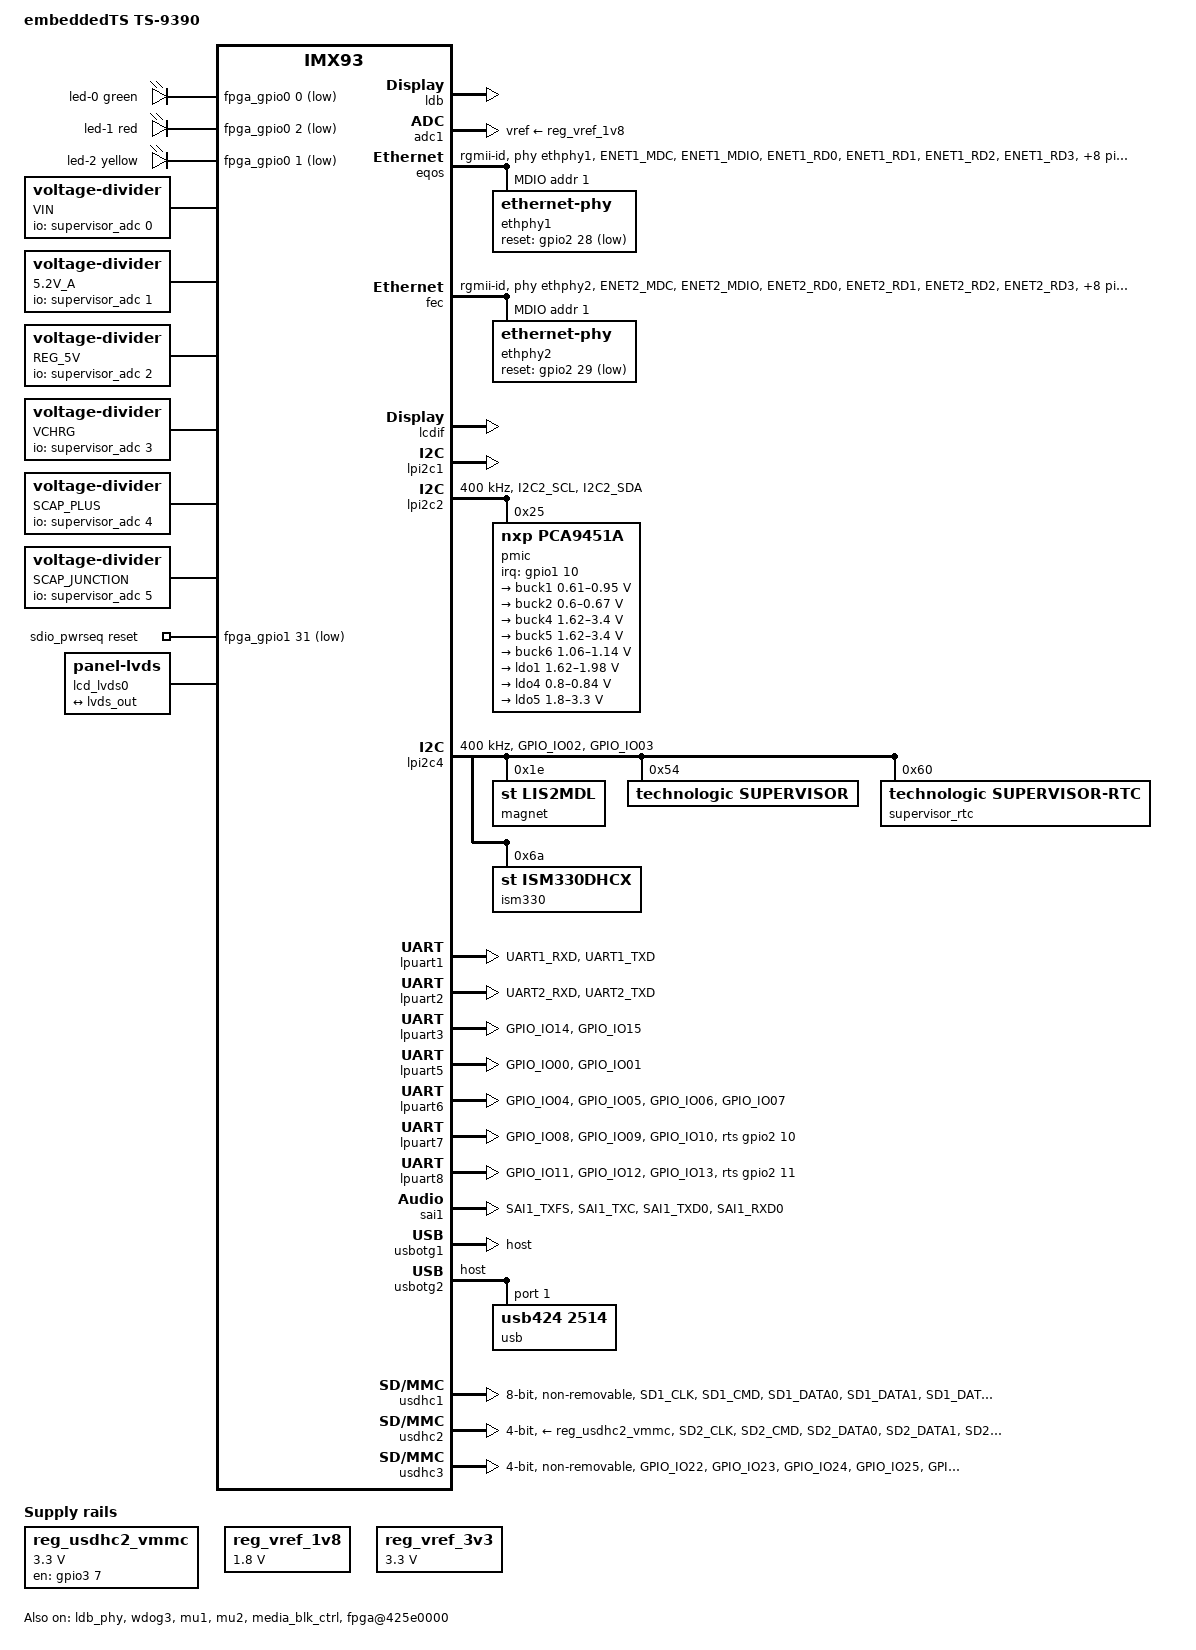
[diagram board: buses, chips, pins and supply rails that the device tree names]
// SPDX-License-Identifier: (GPL-2.0+ OR MIT)
/*
 * Copyright 2024, 2025 Technologic Systems, Inc. (dba embeddedTS)
 */

/dts-v1/;

#include <dt-bindings/leds/common.h>
#include "imx93.dtsi"

/ {
	model = "embeddedTS TS-9390";
	compatible = "technologic,ts9390", "fsl,imx93";

	chosen {
		bootargs = "console=ttyLP0,115200";
		stdout-path = &lpuart1;
	};

	aliases {
		gpio4 = &fpga_gpio0;
		gpio5 = &fpga_gpio1;
		gpio6 = &fpga_gpio2;
	};

	reserved-memory {
		#address-cells = <2>;
		#size-cells = <2>;
		ranges;

		linux,cma {
			compatible = "shared-dma-pool";
			reusable;
			alloc-ranges = <0 0x80000000 0 0x40000000>;
			size = <0 0x10000000>;
			linux,cma-default;
		};

		ethosu_mem: ethosu_region@C0000000 {
			compatible = "shared-dma-pool";
			reusable;
			reg = <0x0 0xC0000000 0x0 0x10000000>;
		};

		vdev0vring0: vdev0vring0@a4000000 {
			reg = <0 0xa4000000 0 0x8000>;
			no-map;
		};

		vdev0vring1: vdev0vring1@a4008000 {
			reg = <0 0xa4008000 0 0x8000>;
			no-map;
		};

		vdev1vring0: vdev1vring0@a4010000 {
			reg = <0 0xa4010000 0 0x8000>;
			no-map;
		};

		vdev1vring1: vdev1vring1@a4018000 {
			reg = <0 0xa4018000 0 0x8000>;
			no-map;
		};

		rsc_table: rsc-table@2021e000 {
			reg = <0 0x2021e000 0 0x1000>;
			no-map;
		};

		vdevbuffer: vdevbuffer@a4020000 {
			compatible = "shared-dma-pool";
			reg = <0 0xa4020000 0 0x100000>;
			no-map;
		};

		ele_reserved: ele-reserved@a4120000 {
			compatible = "shared-dma-pool";
			reg = <0 0xa4120000 0 0x100000>;
			no-map;
		};
	};

	ethosu {
		compatible = "arm,ethosu";
		fsl,cm33-proc = <&cm33>;
		memory-region = <&ethosu_mem>;
		power-domains = <&mlmix>;
	};

	clk_dp: clk-dp {
		compatible = "fixed-clock";
		#clock-cells = <0>;
		clock-frequency = <19200000>;
	};

	leds {
		compatible = "gpio-leds";

		led-0 {
			color = <LED_COLOR_ID_GREEN>;
			function = LED_FUNCTION_INDICATOR;
			gpios = <&fpga_gpio0 0 GPIO_ACTIVE_LOW>;
			default-state = "on";
		};

		led-1 {
			color = <LED_COLOR_ID_RED>;
			function = LED_FUNCTION_INDICATOR;
			gpios = <&fpga_gpio0 2 GPIO_ACTIVE_LOW>;
			default-state = "off";
		};

		led-2 {
			color = <LED_COLOR_ID_YELLOW>;
			function = LED_FUNCTION_INDICATOR;
			gpios = <&fpga_gpio0 1 GPIO_ACTIVE_LOW>;
			default-state = "off";
		};
	};

	reg_usdhc2_vmmc: regulator-usdhc2 {
		compatible = "regulator-fixed";
		pinctrl-names = "default";
		pinctrl-0 = <&pinctrl_reg_usdhc2_vmmc>;
		regulator-name = "VSD_3V3";
		regulator-min-microvolt = <3300000>;
		regulator-max-microvolt = <3300000>;
		gpio = <&gpio3 7 GPIO_ACTIVE_HIGH>;
		off-on-delay-us = <12000>;
		enable-active-high;
	};

	reg_vref_1v8: regulator-adc-vref {
		compatible = "regulator-fixed";
		regulator-name = "vref_1v8";
		regulator-min-microvolt = <1800000>;
		regulator-max-microvolt = <1800000>;
	};

	reg_vref_3v3: regulator-adc-vref {
		compatible = "regulator-fixed";
		regulator-name = "vref_3v3";
		regulator-min-microvolt = <3300000>;
		regulator-max-microvolt = <3300000>;
		regulator-always-on;
	};

	/*
	 * The numbering of the following voltage-divider io-channels must match
	 * the ordering of the Wizard microcontroller's scan table that it selected
	 * for the hardware configuration it determined itself to be running on.
	 */
	an_vin: an-vin {
		compatible = "voltage-divider";
		io-channels = <&supervisor_adc 0>;
		label = "VIN";
		output-ohms = <4990>; /* R2: 4.9k */
		full-ohms = <79990>;  /* R1 (75k) + R2 (4.99k) */
		#io-channel-cells = <0>;
	};

	an_5p2va: an-5p2va {
		compatible = "voltage-divider";
		io-channels = <&supervisor_adc 1>;
		label = "5.2V_A";
		output-ohms = <75000>; /* R2: 75k */
		full-ohms = <150000>;  /* R1 (75k) + R2 (75k) */
		#io-channel-cells = <0>;
	};

	an_reg_5v: an-reg-5v {
		compatible = "voltage-divider";
		io-channels = <&supervisor_adc 2>;
		label = "REG_5V";
		output-ohms = <75000>; /* R2: 75k */
		full-ohms = <150000>;  /* R1 (75k) + R2 (75k) */
		#io-channel-cells = <0>;
	};

	an_vchrg: an-vchrg {
		compatible = "voltage-divider";
		io-channels = <&supervisor_adc 3>;
		label = "VCHRG";
		output-ohms = <75000>; /* R2: 75k */
		full-ohms = <150000>;  /* R1 (75k) + R2 (75k) */
		#io-channel-cells = <0>;
	};

	an_scap_plus: an-scap-plus {
		compatible = "voltage-divider";
		io-channels = <&supervisor_adc 4>;
		label = "SCAP_PLUS";
		output-ohms = <75000>; /* R2: 75k */
		full-ohms = <150000>;  /* R1 (75k) + R2 (75k) */
		#io-channel-cells = <0>;
	};

	/*
	 * On boards with two or more banks, junction becomes junction-0, and
	 * additional junctions are labeled junction-N.
	 */
	an_scap_junction: an-scap-junction {
		compatible = "voltage-divider";
		io-channels = <&supervisor_adc 5>;
		label = "SCAP_JUNCTION";
		output-ohms = <1>;  /* direct mV (<3.3V) after 12-bit scaling */
		full-ohms = <1>;
		#io-channel-cells = <0>;
	};

	sdio_pwrseq: sdio-pwrseq {
		compatible = "mmc-pwrseq-simple";
		pinctrl-names = "default";
		reset-gpios = <&fpga_gpio1 31 GPIO_ACTIVE_LOW>;
	};

	/* See imx93-ts9390-simple-panel.dtso or ... */
	/* ek73215bcga LCD panel */
        lcd_lvds0: panel0 {
            compatible = "panel-lvds";
            /* backlight = <&backlight>;*/
	    data-mapping = "jeida-24";
	    width-mm = <154>;  // 7"
	    height-mm = <86>;
	    status = "okay";

            panel-timing {
                clock-frequency = <51000000>; // Pixel clock
                hactive = <1024>;
                vactive = <600>;
                hback-porch = <160>;
                hfront-porch = <160>;
                hsync-len = <20>;
                vback-porch = <23>;
                vfront-porch = <12>;
                vsync-len = <3>;
                hsync-active = <0>;
                vsync-active = <0>;
                de-active = <1>;             // Data enable active level.
                pixelclk-active = <0>;       // Pixel clock active level.
            };

	    port {
		    panel_lvds_in: endpoint {
			    remote-endpoint = <&lvds_out>;
		    };
	    };
        };
};

/* LVDS Display Bridge - node mostly in ix93.dts */
&ldb {
	status = "okay";

	lvds-channel@0 {
		status = "okay";

		port@1 {
			lvds_out: endpoint {
				remote-endpoint = <&panel_lvds_in>;
			};
		};
	};
};

&ldb_phy {
	status = "okay";
};

&adc1 {
	vref-supply = <&reg_vref_1v8>;
	status = "okay";
};

//&cm33 {
//	mbox-names = "tx", "rx", "rxdb";
//	mboxes = <&mu1 0 1>,
//		 <&mu1 1 1>,
//		 <&mu1 3 1>;
//	memory-region = <&vdevbuffer>, <&vdev0vring0>, <&vdev0vring1>,
//			<&vdev1vring0>, <&vdev1vring1>, <&rsc_table>;
//	status = "okay";
//};

&aips2 {
	fpga@425e0000 {
		#address-cells = <1>;
		#size-cells = <1>;
		compatible = "nxp,imx93-fspi", "nxp,imx8mm-fspi";
		reg = <0x425e0000 0x10000>, <0x28000000 0x10000000>;
		reg-names = "fspi_base", "fspi_mmap";
		interrupts = <GIC_SPI 55 IRQ_TYPE_LEVEL_HIGH>;
		clocks = <&clk IMX93_CLK_FLEXSPI1_GATE>,
		<&clk IMX93_CLK_FLEXSPI1_GATE>;
		clock-names = "fspi", "fspi_en";
		assigned-clocks = <&clk IMX93_CLK_FLEXSPI1>;
		assigned-clock-parents = <&clk IMX93_CLK_SYS_PLL_PFD1>;
		pinctrl-names = "default";
		pinctrl-0 = <&pinctrl_flexspi>;
		assigned-clock-rates = <66000000>;
		nxp,ahb-bus-only;
		nxp,fspi-individual-mode;
		ranges = <0 0x28000000 0x10000000>;

		status = "okay";

		fpga_gpio0: gpio@28000040 {
			compatible = "technologic,ts7820-gpio";
			reg = <0x40 0x40>;
			gpio-controller;
			#gpio-cells = <2>;

			gpio-line-names =
				"EN_GREEN_LED_N",    "EN_YEL_LED_N",      "EN_RED_LED_N",      "",
				"NIM_RESET_N",       "NIM_CTS_N",         "NIM_PWR_ON_N",      "EN_NIM_USB_N",
				"EN_NIM_4V",         "EN_NIM_3P3V",       "NIM_TXD",           "NIM_RXD",
				"EN_USB_HOST1_VBUS", "EN_USB_HOST2_VBUS", "MIKRO_TXD",         "MIKRO_RXD",
				"MIKRO_SPI_CLK",     "MIKRO_SPI_CS_N",    "MIKRO_SPI_MISO",    "MIKRO_SPI_MOSI",
				"MIKRO_RESET_N",     "MIKRO_AN",          "MIKRO_PWM",         "MIKRO_INT",
				"EN_LS_OUT_1",       "EN_LS_OUT_2",       "EN_LS_OUT_3",       "EN_LS_OUT_4",
				"EN_HS_SW",          "DIO_FAULT_N",       "MAGNET_IRQ",        "GYRO_IRQ";
		};

		fpga_gpio1: gpio@28000080 {
			compatible = "technologic,ts7820-gpio";
			reg = <0x80 0x40>;
			gpio-controller;
			#gpio-cells = <2>;

			gpio-line-names =
				"EN_2ND_PORT_232",   "EN_CAN_1",    "EN_CAN_2",      "",
				"",                  "",            "",              "",
				"",                  "",            "",              "",
				"",                  "",            "",              "",
				"",                  "",            "",              "",
				"",                  "",            "PUSH_SW_PADN",  "AN_SEL_0",
				"AN_SEL_1",          "EN_CL_1_2",   "EN_CL_3",       "DP_RESET_PADN",
				"NO_SCAP_CHRG_PADN", "EN_SPKR_AMP", "BT_EN",         "WIFI_EN";
		};

		fpga_gpio2: gpio@280000c0 {
			compatible = "technologic,ts7820-gpio";
			reg = <0xC0 0x40>;
			gpio-controller;
			#gpio-cells = <2>;

			gpio-line-names =
				"EN_ADC_3_12V",   "EN_ADC_1_2_12V", "",               "",
				"",               "",               "",               "",
				"",               "",               "",               "",
				"",               "",               "",               "",
				"",               "",               "",               "",
				"",               "",               "",               "",
				"",               "",               "",               "",
				"",               "",               "",               "";
		};
	};
};

&bbnsm_rtc {
	status = "disabled";
};

&dphy {
	status = "disabled";
};

&dsi {
	status = "disabled";

	ports {
		port@1 {
			reg = <1>;

			dsi_to_dp: endpoint {
				remote-endpoint = <&dp_to_dsi>;
			};
		};
	};
};

&eqos {
	pinctrl-names = "default", "sleep";
	pinctrl-0 = <&pinctrl_eqos>;
	pinctrl-1 = <&pinctrl_eqos_sleep>;
	phy-mode = "rgmii-id";
	phy-handle = <&ethphy1>;
	status = "okay";

	mdio {
		compatible = "snps,dwmac-mdio";
		#address-cells = <1>;
		#size-cells = <0>;
		clock-frequency = <5000000>;

		ethphy1: ethernet-phy@1 {
			//compatible = "ethernet-phy-ieee802.3-c22";
			reg = <1>;
			eee-broken-1000t;
			pinctrl-names = "default";
			pinctrl-0 = <&pinctrl_eqos_phy>;
			reset-gpios = <&gpio2 28 GPIO_ACTIVE_LOW>;
			reset-assert-us = <2>;
			reset-deassert-us = <50000>;
		};
	};
};

&fec {
	pinctrl-names = "default", "sleep";
	pinctrl-0 = <&pinctrl_fec>;
	pinctrl-1 = <&pinctrl_fec_sleep>;
	phy-mode = "rgmii-id";
	phy-handle = <&ethphy2>;
	fsl,magic-packet;
	status = "okay";

	mdio {
		#address-cells = <1>;
		#size-cells = <0>;
		clock-frequency = <5000000>;

		ethphy2: ethernet-phy@1 {
			//compatible = "ethernet-phy-ieee802.3-c22";
			reg = <1>;
			pinctrl-names = "default";
			pinctrl-0 = <&pinctrl_fec_phy>;
			eee-broken-1000t;
			reset-gpios = <&gpio2 29 GPIO_ACTIVE_LOW>;
			reset-assert-us = <2>;
			reset-deassert-us = <50000>;
		};
	};
};

&lcdif {
	status = "okay";
	assigned-clock-rates = <484000000>, <121000000>, <400000000>, <133333333>;
};

/* i2c-0 */
&lpi2c1 {
	status = "ok";
};

/* i2c-1 */
&lpi2c2 {
	#address-cells = <1>;
	#size-cells = <0>;
	clock-frequency = <400000>;
	pinctrl-names = "default";
	pinctrl-0 = <&pinctrl_lpi2c2>;
	status = "okay";

	/* i.MX93 Master */

	pmic@25 {
		compatible = "nxp,pca9451a";
		reg = <0x25>;
		pinctrl-names = "default";
		pinctrl-0 = <&pinctrl_pmic>;
		/* Passed through the FPGA, PMIC_INT# to CCM_CLK03 */
		interrupt-parent = <&gpio1>;
		interrupts = <10 IRQ_TYPE_LEVEL_LOW>;
		nxp,i2c-lt-enable;

		regulators {
			buck1: BUCK1 {
				regulator-name = "BUCK1";
				regulator-min-microvolt = <610000>;
				regulator-max-microvolt = <950000>;
				regulator-boot-on;
				regulator-always-on;
				regulator-ramp-delay = <3125>;
			};

			buck2: BUCK2 {
				regulator-name = "BUCK2";
				regulator-min-microvolt = <600000>;
				regulator-max-microvolt = <670000>;
				regulator-boot-on;
				regulator-always-on;
				regulator-ramp-delay = <3125>;
			};

			buck4: BUCK4{
				regulator-name = "BUCK4";
				regulator-min-microvolt = <1620000>;
				regulator-max-microvolt = <3400000>;
				regulator-boot-on;
				regulator-always-on;
			};

			buck5: BUCK5{
				regulator-name = "BUCK5";
				regulator-min-microvolt = <1620000>;
				regulator-max-microvolt = <3400000>;
				regulator-boot-on;
				regulator-always-on;
			};

			buck6: BUCK6 {
				regulator-name = "BUCK6";
				regulator-min-microvolt = <1060000>;
				regulator-max-microvolt = <1140000>;
				regulator-boot-on;
				regulator-always-on;
			};

			ldo1: LDO1 {
				regulator-name = "LDO1";
				regulator-min-microvolt = <1620000>;
				regulator-max-microvolt = <1980000>;
				regulator-boot-on;
				regulator-always-on;
			};

			ldo4: LDO4 {
				regulator-name = "LDO4";
				regulator-min-microvolt = <800000>;
				regulator-max-microvolt = <840000>;
				regulator-boot-on;
				regulator-always-on;
			};

			ldo5: LDO5 {
				regulator-name = "LDO5";
				regulator-min-microvolt = <1800000>;
				regulator-max-microvolt = <3300000>;
				regulator-boot-on;
				regulator-always-on;
			};
		};
	};
};

/* i2c-3 */
&lpi2c4 {
	#address-cells = <1>;
	#size-cells = <0>;
	clock-frequency = <400000>;
	pinctrl-names = "default", "sleep";
	pinctrl-0 = <&pinctrl_lpi2c4>;
	pinctrl-1 = <&pinctrl_lpi2c4>;
	status = "okay";

	/* ST IIS2MDL (magnetometer) */
	magnet: magnetometer@1e {
		compatible = "st,lis2mdl";
		reg = <0x1e>;
		st,drdy-int-pin = <1>;
		/*
		st,drdy-int-pin = <1>;
		interrupt-parent = <&gpio1>;
		interrupts = <14 IRQ_TYPE_LEVEL_HIGH>;
		*/
	};

	supervisor: supervisor@54 {
		compatible = "technologic,supervisor";
		reg = <0x54>;

		supervisor_adc: supervisor_adc {
			compatible = "technologic,supervisor-adc";
			#io-channel-cells = <1>;
		};

		supervisor_temp: supervisor_temp {
			compatible = "technologic,supervisor-temp";
			#io-channel-cells = <0>;
		};
	};

	supervisor_rtc: rtc@60 {
		compatible = "technologic,supervisor-rtc";
		reg = <0x60>;
		wakeup-source;
	};

	dp_bridge: dp-bridge@68 {
		compatible = "toshiba,tc358767";
		reg = <0x68>;
		reset-gpios = <&fpga_gpio1 27 GPIO_ACTIVE_HIGH>;

		clock-names = "ref";
		clocks = <&clk_dp>;

		toshiba,hpd-pin = <0>;
		status = "disabled";

		ports {
			#address-cells = <1>;
			#size-cells = <0>;

			port@0 {
				reg = <0>;

				dp_to_dsi: endpoint {
					remote-endpoint = <&dsi_to_dp>;
				};
			};
		};
	};

	/* ST ISM330DLCTR (gyro/accelerometer) (ism6dhcx) */
	ism330: gyro@6a {
		compatible = "st,ism330dhcx";
		reg = <0x6a>;
		/*
		interrupt-parent = <&gpio5>;
		interrupts = <0 IRQ_TYPE_LEVEL_HIGH>;
		*/
	};
};

&lpuart1 { /* serial@44380000: Console */
	pinctrl-names = "default";
	pinctrl-0 = <&pinctrl_uart1>;
	status = "okay";
};

&lpuart2 { /* serial@44390000: Primary RS-232 */
	pinctrl-names = "default";
	pinctrl-0 = <&pinctrl_uart2>;
	status = "okay";
};

&lpuart3 { /* serial@42570000: TBD via MAX10 */
	pinctrl-names = "default";
	pinctrl-0 = <&pinctrl_uart3>;
	status = "okay";
};

&lpuart5 { /* serial@42590000: MikroE */
	pinctrl-names = "default";
	pinctrl-0 = <&pinctrl_uart5>;
	status = "okay";
};

&lpuart6 { /* serial@425a0000: Silex Bluetooth */
	pinctrl-names = "default";
	pinctrl-0 = <&pinctrl_uart6>;
	status = "okay";
};

&lpuart7 { /* serial@42690000: Primary RS-485 */
	pinctrl-names = "default";
	pinctrl-0 = <&pinctrl_uart7>;
	rts-gpios = <&gpio2 10 GPIO_ACTIVE_HIGH>;
	//linux,rs485-enabled-at-boot-time;
	status = "okay";
};

&lpuart8 { /* serial@426a0000: Secondary RS-485 (or RS-232) */
	pinctrl-names = "default";
	pinctrl-0 = <&pinctrl_uart8>;
	rts-gpios = <&gpio2 11 GPIO_ACTIVE_HIGH>;
	//linux,rs485-enabled-at-boot-time;
	status = "okay";
};

&sai1 {
	#sound-dai-cells = <0>;
	pinctrl-names = "default";
	pinctrl-0 = <&pinctrl_sai1>;

	clocks = <&clk IMX93_CLK_SAI1_IPG>, <&clk IMX93_CLK_DUMMY>,
		 <&clk IMX93_CLK_SAI1_GATE>,
		 <&clk IMX93_CLK_DUMMY>, <&clk IMX93_CLK_DUMMY>,
		 <&clk IMX93_CLK_AUDIO_PLL>;
	clock-names = "bus", "mclk0",
		      "mclk1",
		      "mclk2", "mclk3",
		      "pll8k";
	assigned-clocks = <&clk IMX93_CLK_SAI1>;
	assigned-clock-parents = <&clk IMX93_CLK_AUDIO_PLL>;
	assigned-clock-rates = <12288000>;

	fsl,sai-asynchronous;
	status = "okay";
};

&usbotg1 {
	dr_mode = "host";
	status = "okay";
};

&usbotg2 {
	#address-cells = <1>;
	#size-cells = <0>;
	dr_mode = "host";
	status = "okay";

	usb@1 {
		compatible = "usb424,2514";
		reg = <1>;
		//pinctrl-names = "default";
		//pinctrl-0 = <&pinctrl_usbhub>;
		clocks = <&clk IMX93_CLK_CCM_CKO1>;
		assigned-clocks = <&clk IMX93_CLK_CCM_CKO1>;
		assigned-clock-parents = <&clk IMX93_CLK_24M>;
		assigned-clock-rates = <24000000>;
	};
};

&usdhc1 {
	pinctrl-names = "default", "state_100mhz", "state_200mhz";
	pinctrl-0 = <&pinctrl_usdhc1>;
	pinctrl-1 = <&pinctrl_usdhc1>;
	pinctrl-2 = <&pinctrl_usdhc1>;
	bus-width = <8>;
	non-removable;
	status = "okay";
};

&usdhc2 {
	pinctrl-names = "default", "state_100mhz", "state_200mhz", "sleep";
	pinctrl-0 = <&pinctrl_usdhc2>;
	pinctrl-1 = <&pinctrl_usdhc2_100mhz>;
	pinctrl-2 = <&pinctrl_usdhc2_200mhz>;
	pinctrl-3 = <&pinctrl_usdhc2_sleep>;
	vmmc-supply = <&reg_usdhc2_vmmc>;
	bus-width = <4>;
	status = "okay";
	no-sdio;
	no-mmc;
	broken-cd;
};


&usdhc3 {
	pinctrl-names = "default", "state_100mhz", "state_200mhz";
	pinctrl-0 = <&pinctrl_usdhc3>;
	pinctrl-1 = <&pinctrl_usdhc3>;
	pinctrl-2 = <&pinctrl_usdhc3>;
	mmc-pwrseq = <&sdio_pwrseq>;
	bus-width = <4>;
	non-removable;
	fsl,sdio-async-interrupt-enabled;
	status = "okay";
};

/* CPU GPIO2: 43810000.gpio (per i.MX93 RM (ch. 29/GPIO) */
&gpio2 {
	gpio-line-names =
		"GPIO_00",      "GPIO_01",      "GPIO_02", "GPIO_03", "GPIO_04",
		"GPIO_05",      "GPIO_06",      "GPIO_07", "GPIO_08", "GPIO_09",
		"RS485_1_TXEN", "RS485_2_TXEN", "GPIO_12", "GPIO_13", "GPIO_14",
		"GPIO_15",      "GPIO_16",      "GPIO_17", "GPIO_18", "GPIO_19",
		"GPIO_20",      "GPIO_21";
};

&iomuxc {
	pinctrl_eqos: eqosgrp {
		fsl,pins = <
			MX93_PAD_ENET1_MDC__ENET_QOS_MDC			0x57e
			MX93_PAD_ENET1_MDIO__ENET_QOS_MDIO			0x57e
			MX93_PAD_ENET1_RD0__ENET_QOS_RGMII_RD0			0x57e
			MX93_PAD_ENET1_RD1__ENET_QOS_RGMII_RD1			0x57e
			MX93_PAD_ENET1_RD2__ENET_QOS_RGMII_RD2			0x57e
			MX93_PAD_ENET1_RD3__ENET_QOS_RGMII_RD3			0x57e
			MX93_PAD_ENET1_RXC__CCM_ENET_QOS_CLOCK_GENERATE_RX_CLK	0x5fe
			MX93_PAD_ENET1_RX_CTL__ENET_QOS_RGMII_RX_CTL		0x57e
			MX93_PAD_ENET1_TD0__ENET_QOS_RGMII_TD0			0x57e
			MX93_PAD_ENET1_TD1__ENET_QOS_RGMII_TD1			0x57e
			MX93_PAD_ENET1_TD2__ENET_QOS_RGMII_TD2			0x57e
			MX93_PAD_ENET1_TD3__ENET_QOS_RGMII_TD3			0x57e
			MX93_PAD_ENET1_TXC__CCM_ENET_QOS_CLOCK_GENERATE_TX_CLK	0x5fe
			MX93_PAD_ENET1_TX_CTL__ENET_QOS_RGMII_TX_CTL		0x57e
		>;
	};

	pinctrl_eqos_phy: eqosphygrp {
		fsl,pins = <
			MX93_PAD_GPIO_IO28__GPIO2_IO28				0x1306
		>;
	};
	pinctrl_usbhub: hubgrp {
		fsl,pins = <
			MX93_PAD_CCM_CLKO1__CCMSRCGPCMIX_CLKO1		0x282
		>;
	};

	pinctrl_pmic: pmicgrp {
		fsl,pins = <
			MX93_PAD_PDM_BIT_STREAM1__GPIO1_IO10		0x40000b9e
		>;
	};

	pinctrl_lpi2c1: lpi2c1grp {
		fsl,pins = <
			MX93_PAD_I2C1_SCL__LPI2C1_SCL			0x40000b9e
			MX93_PAD_I2C1_SDA__LPI2C1_SDA			0x40000b9e
		>;
	};

	pinctrl_lpi2c2: lpi2c2grp {
		fsl,pins = <
			MX93_PAD_I2C2_SCL__LPI2C2_SCL			0x40000b9e
			MX93_PAD_I2C2_SDA__LPI2C2_SDA			0x40000b9e
		>;
	};

	pinctrl_lpi2c4: lpi2c4grp {
		fsl,pins = <
			MX93_PAD_GPIO_IO02__LPI2C4_SDA			0x40000b9e
			MX93_PAD_GPIO_IO03__LPI2C4_SCL			0x40000b9e
		>;
	};

	pinctrl_eqos_sleep: eqossleepgrp {
		fsl,pins = <
			MX93_PAD_ENET1_MDC__GPIO4_IO00				0x31e
			MX93_PAD_ENET1_MDIO__GPIO4_IO01				0x31e
			MX93_PAD_ENET1_RD0__GPIO4_IO10                          0x31e
			MX93_PAD_ENET1_RD1__GPIO4_IO11				0x31e
			MX93_PAD_ENET1_RD2__GPIO4_IO12				0x31e
			MX93_PAD_ENET1_RD3__GPIO4_IO13				0x31e
			MX93_PAD_ENET1_RXC__GPIO4_IO09                          0x31e
			MX93_PAD_ENET1_RX_CTL__GPIO4_IO08			0x31e
			MX93_PAD_ENET1_TD0__GPIO4_IO05                          0x31e
			MX93_PAD_ENET1_TD1__GPIO4_IO04                          0x31e
			MX93_PAD_ENET1_TD2__GPIO4_IO03				0x31e
			MX93_PAD_ENET1_TD3__GPIO4_IO02				0x31e
			MX93_PAD_ENET1_TXC__GPIO4_IO07                          0x31e
			MX93_PAD_ENET1_TX_CTL__GPIO4_IO06                       0x31e
		>;
	};

	pinctrl_flexspi: flexspigrp {
		fsl,pins = <
			MX93_PAD_SD3_CMD__FLEXSPI1_A_SS0_B      0x42
			MX93_PAD_SD3_CLK__FLEXSPI1_A_SCLK       0x42
			MX93_PAD_SD3_DATA0__FLEXSPI1_A_DATA00   0x42
			MX93_PAD_SD3_DATA1__FLEXSPI1_A_DATA01   0x42
			MX93_PAD_SD3_DATA2__FLEXSPI1_A_DATA02   0x42
			MX93_PAD_SD3_DATA3__FLEXSPI1_A_DATA03   0x42
		>;
	};

	pinctrl_fec: fecgrp {
		fsl,pins = <
			MX93_PAD_ENET2_MDC__ENET1_MDC			0x57e
			MX93_PAD_ENET2_MDIO__ENET1_MDIO			0x57e
			MX93_PAD_ENET2_RD0__ENET1_RGMII_RD0		0x57e
			MX93_PAD_ENET2_RD1__ENET1_RGMII_RD1		0x57e
			MX93_PAD_ENET2_RD2__ENET1_RGMII_RD2		0x57e
			MX93_PAD_ENET2_RD3__ENET1_RGMII_RD3		0x57e
			MX93_PAD_ENET2_RXC__ENET1_RGMII_RXC		0x5fe
			MX93_PAD_ENET2_RX_CTL__ENET1_RGMII_RX_CTL	0x57e
			MX93_PAD_ENET2_TD0__ENET1_RGMII_TD0		0x57e
			MX93_PAD_ENET2_TD1__ENET1_RGMII_TD1		0x57e
			MX93_PAD_ENET2_TD2__ENET1_RGMII_TD2		0x57e
			MX93_PAD_ENET2_TD3__ENET1_RGMII_TD3		0x57e
			MX93_PAD_ENET2_TXC__ENET1_RGMII_TXC		0x5fe
			MX93_PAD_ENET2_TX_CTL__ENET1_RGMII_TX_CTL	0x57e
		>;
	};

	pinctrl_fec_phy: fecphygrp {
		fsl,pins = <
			MX93_PAD_GPIO_IO29__GPIO2_IO29				0x1306
		>;
	};

	pinctrl_fec_sleep: fecsleepgrp {
		fsl,pins = <
			MX93_PAD_ENET2_MDC__GPIO4_IO14			0x51e
			MX93_PAD_ENET2_MDIO__GPIO4_IO15			0x51e
			MX93_PAD_ENET2_RD0__GPIO4_IO24			0x51e
			MX93_PAD_ENET2_RD1__GPIO4_IO25			0x51e
			MX93_PAD_ENET2_RD2__GPIO4_IO26			0x51e
			MX93_PAD_ENET2_RD3__GPIO4_IO27			0x51e
			MX93_PAD_ENET2_RXC__GPIO4_IO23                  0x51e
			MX93_PAD_ENET2_RX_CTL__GPIO4_IO22		0x51e
			MX93_PAD_ENET2_TD0__GPIO4_IO19			0x51e
			MX93_PAD_ENET2_TD1__GPIO4_IO18			0x51e
			MX93_PAD_ENET2_TD2__GPIO4_IO17			0x51e
			MX93_PAD_ENET2_TD3__GPIO4_IO16			0x51e
			MX93_PAD_ENET2_TXC__GPIO4_IO21                  0x51e
			MX93_PAD_ENET2_TX_CTL__GPIO4_IO20               0x51e
		>;
	};

	pinctrl_sai1: sai1grp {
		fsl,pins = <
			MX93_PAD_SAI1_TXFS__SAI1_TX_SYNC		0x31e
			MX93_PAD_SAI1_TXC__SAI1_TX_BCLK			0x31e
			MX93_PAD_SAI1_TXD0__SAI1_TX_DATA00		0x31e
			MX93_PAD_SAI1_RXD0__SAI1_RX_DATA00		0x31e
		>;
	};

	/* uart1/LP0: Console via serial-USB */
	pinctrl_uart1: uart1grp {
		fsl,pins = <
			MX93_PAD_UART1_RXD__LPUART1_RX			0x31e
			MX93_PAD_UART1_TXD__LPUART1_TX			0x31e
		>;
	};

	/* uart2/LP1: RS-232 */
	pinctrl_uart2: uart2grp {
		fsl,pins = <
			MX93_PAD_UART2_RXD__LPUART2_RX			0x31e
			MX93_PAD_UART2_TXD__LPUART2_TX			0x31e
		>;
	};

	/* uart3/LP2: TBD */
	pinctrl_uart3: uart3grp {
		fsl,pins = <
			MX93_PAD_GPIO_IO14__LPUART3_TX			0x31e
			MX93_PAD_GPIO_IO15__LPUART3_RX			0x31e
		>;
	};

	/* uart5/LP4: Mikroe */
	pinctrl_uart5: uart5grp {
		fsl,pins = <
			MX93_PAD_GPIO_IO00__LPUART5_TX			0x31e
			MX93_PAD_GPIO_IO01__LPUART5_RX			0x31e
		>;
	};

	/* uart6/LP5: Silex Bluetooth */
	pinctrl_uart6: uart6grp {
		fsl,pins = <
			MX93_PAD_GPIO_IO04__LPUART6_TX			0x31e
			MX93_PAD_GPIO_IO05__LPUART6_RX			0x31e
			MX93_PAD_GPIO_IO06__LPUART6_CTS_B		0x31e
			MX93_PAD_GPIO_IO07__LPUART6_RTS_B		0x31e
		>;
	};

	/* uart7/LP6: Primary RS-485 */
	pinctrl_uart7: uart7grp {
		fsl,pins = <
			MX93_PAD_GPIO_IO08__LPUART7_TX			0x31e
			MX93_PAD_GPIO_IO09__LPUART7_RX			0x31e
			MX93_PAD_GPIO_IO10__GPIO2_IO10			0x31e /* TXEN */
		>;
	};

	/* uart8/LP7: Secondary RS-485/232 */
	pinctrl_uart8: uart8grp {
		fsl,pins = <
			MX93_PAD_GPIO_IO11__GPIO2_IO11			0x31e /* TXEN */
			MX93_PAD_GPIO_IO12__LPUART8_TX			0x31e
			MX93_PAD_GPIO_IO13__LPUART8_RX			0x31e
		>;
	};

	pinctrl_usdhc1: usdhc1grp {
		fsl,pins = <
			MX93_PAD_SD1_CLK__USDHC1_CLK		0x15fe
			MX93_PAD_SD1_CMD__USDHC1_CMD		0x13fe
			MX93_PAD_SD1_DATA0__USDHC1_DATA0	0x13fe
			MX93_PAD_SD1_DATA1__USDHC1_DATA1	0x13fe
			MX93_PAD_SD1_DATA2__USDHC1_DATA2	0x13fe
			MX93_PAD_SD1_DATA3__USDHC1_DATA3	0x13fe
			MX93_PAD_SD1_DATA4__USDHC1_DATA4	0x13fe
			MX93_PAD_SD1_DATA5__USDHC1_DATA5	0x13fe
			MX93_PAD_SD1_DATA6__USDHC1_DATA6	0x13fe
			MX93_PAD_SD1_DATA7__USDHC1_DATA7	0x13fe
			MX93_PAD_SD1_STROBE__USDHC1_STROBE	0x15fe
		>;
	};

	pinctrl_usdhc3: usdhc3grp {
		fsl,pins = <
			MX93_PAD_GPIO_IO22__USDHC3_CLK		0x15fe
			MX93_PAD_GPIO_IO23__USDHC3_CMD		0x13fe
			MX93_PAD_GPIO_IO24__USDHC3_DATA0	0x13fe
			MX93_PAD_GPIO_IO25__USDHC3_DATA1	0x13fe
			MX93_PAD_GPIO_IO26__USDHC3_DATA2	0x13fe
			MX93_PAD_GPIO_IO27__USDHC3_DATA3	0x13fe
		>;
	};

	pinctrl_reg_usdhc2_vmmc: regusdhc2vmmcgrp {
		fsl,pins = <
			MX93_PAD_SD2_RESET_B__GPIO3_IO07	0x31e
		>;
	};
	/* need to config the SION for data and cmd pad, refer to ERR052021 */
	pinctrl_usdhc2: usdhc2grp {
		fsl,pins = <
			MX93_PAD_SD2_CLK__USDHC2_CLK		0x1582
			MX93_PAD_SD2_CMD__USDHC2_CMD		0x40001382
			MX93_PAD_SD2_DATA0__USDHC2_DATA0	0x40001382
			MX93_PAD_SD2_DATA1__USDHC2_DATA1	0x40001382
			MX93_PAD_SD2_DATA2__USDHC2_DATA2	0x40001382
			MX93_PAD_SD2_DATA3__USDHC2_DATA3	0x40001382
			MX93_PAD_SD2_VSELECT__USDHC2_VSELECT	0x51e
		>;
	};

	/* need to config the SION for data and cmd pad, refer to ERR052021 */
	pinctrl_usdhc2_100mhz: usdhc2-100mhzgrp {
		fsl,pins = <
			MX93_PAD_SD2_CLK__USDHC2_CLK		0x158e
			MX93_PAD_SD2_CMD__USDHC2_CMD		0x4000138e
			MX93_PAD_SD2_DATA0__USDHC2_DATA0	0x4000138e
			MX93_PAD_SD2_DATA1__USDHC2_DATA1	0x4000138e
			MX93_PAD_SD2_DATA2__USDHC2_DATA2	0x4000138e
			MX93_PAD_SD2_DATA3__USDHC2_DATA3	0x4000138e
			MX93_PAD_SD2_VSELECT__USDHC2_VSELECT	0x51e
		>;
	};

	/* need to config the SION for data and cmd pad, refer to ERR052021 */
	pinctrl_usdhc2_200mhz: usdhc2-200mhzgrp {
		fsl,pins = <
			MX93_PAD_SD2_CLK__USDHC2_CLK		0x15fe
			MX93_PAD_SD2_CMD__USDHC2_CMD		0x400013fe
			MX93_PAD_SD2_DATA0__USDHC2_DATA0	0x400013fe
			MX93_PAD_SD2_DATA1__USDHC2_DATA1	0x400013fe
			MX93_PAD_SD2_DATA2__USDHC2_DATA2	0x400013fe
			MX93_PAD_SD2_DATA3__USDHC2_DATA3	0x400013fe
			MX93_PAD_SD2_VSELECT__USDHC2_VSELECT	0x51e
		>;
	};

	pinctrl_usdhc2_sleep: usdhc2sleepgrp {
		fsl,pins = <
			MX93_PAD_SD2_CLK__GPIO3_IO01            0x51e
			MX93_PAD_SD2_CMD__GPIO3_IO02		0x51e
			MX93_PAD_SD2_DATA0__GPIO3_IO03		0x51e
			MX93_PAD_SD2_DATA1__GPIO3_IO04		0x51e
			MX93_PAD_SD2_DATA2__GPIO3_IO05		0x51e
			MX93_PAD_SD2_DATA3__GPIO3_IO06		0x51e
			MX93_PAD_SD2_VSELECT__GPIO3_IO19	0x51e
		>;
	};

	pinctrl_wdog: wdoggrp {
		fsl,pins = <
			MX93_PAD_WDOG_ANY__WDOG1_WDOG_ANY	0x82
		>;
	};
};

&wdog3 {
	pinctrl-names = "default";
	pinctrl-0 = <&pinctrl_wdog>;
	status = "okay";
};

&lcdif {
	status = "okay";
	assigned-clock-rates = <445333333>, <148444444>, <400000000>, <133333333>;
};

&mu1 {
	status = "okay";
};

&mu2 {
	status = "okay";
};

&media_blk_ctrl {
	status = "okay";
};
